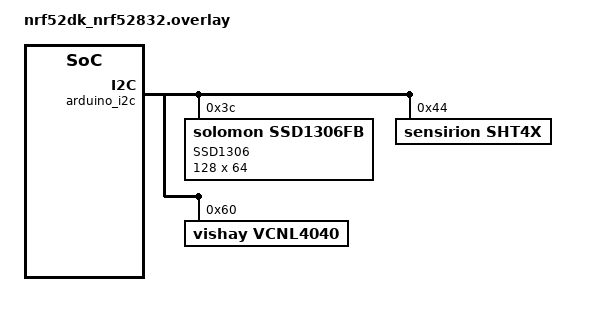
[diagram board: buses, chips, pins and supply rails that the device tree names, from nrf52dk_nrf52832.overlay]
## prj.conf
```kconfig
CONFIG_I2C=y
CONFIG_SENSOR=y
CONFIG_SHT4X=y
CONFIG_CBPRINTF_FP_SUPPORT=y

# Memory and Stack Configuration
CONFIG_HEAP_MEM_POOL_SIZE=16384
CONFIG_MAIN_STACK_SIZE=4096

# Debugging and Assertions
CONFIG_DEBUG_OPTIMIZATIONS=y
CONFIG_ASSERT=y

# Enable I2C support
CONFIG_I2C=y

# Display Configuration
CONFIG_DISPLAY=y
# CONFIG_DISPLAY_LOG_LEVEL_DBG=y

# Enable Logging
# CONFIG_LOG=y

# SSD1306 OLED Display Driver
CONFIG_SSD1306=y
# CONFIG_SSD1306_SH1106_COMPATIBLE=n
CONFIG_SSD1306_DEFAULT_CONTRAST=128

# Console Configuration
CONFIG_CONSOLE=y
# Character Framebuffer
CONFIG_CHARACTER_FRAMEBUFFER=y

CONFIG_VCNL4040=y
CONFIG_VCNL4040_ENABLE_ALS=y
```

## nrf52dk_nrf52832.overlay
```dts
&arduino_i2c {
	status = "okay";
	compatible = "nordic,nrf-twi";

	ssd1306_ssd1306_128x64_I2C: ssd1306@3c {
		compatible = "solomon,ssd1306fb";
		reg = <0x3c>;
		label = "SSD1306";
		width = <128>;
		height = <64>;
		segment-offset = <0>;
		page-offset = <0>;
		display-offset = <0>;
		multiplex-ratio = <63>;
		segment-remap;
		com-invdir;
		prechargep = <0x22>;
	};

	sht4x@44 {  // Node for the SHT4x sensor with I2C address 0x44
        compatible = "sensirion,sht4x"; // SHT4x sensor compatible string
        reg = <0x44>;                   // I2C address of the SHT4x sensor
        label = "SHT4X";                // Optional label for the sensor
        status = "okay";                // Enable the sensor
        repeatability = <2>;            // Sensor repeatability setting (if applicable)
    };

	vcnl4040@60 {
		status = "okay";
		compatible = "vishay,vcnl4040";
		reg = <0x60>;
		led-current = <200>;
		led-duty-cycle = <320>;
	};
};

// /* For node Configuration only */

// &pinctrl {
// 	uart0_default: uart0_default {
// 		group1 {
// 			psels = <NRF_PSEL(UART_TX, 0, 24)>, //6   for nrf52dk5832 / 5840
// 				<NRF_PSEL(UART_RX, 0, 23)>,   //8	  for nrf52dk5832
// 				<NRF_PSEL(UART_RTS, 0, 5)>,
// 				<NRF_PSEL(UART_CTS, 0, 7)>;
// 		};
// 	};

// 	uart0_sleep: uart0_sleep {
// 		group1 {
// 			psels = <NRF_PSEL(UART_TX, 0, 24)>,    //6
// 				<NRF_PSEL(UART_RX, 0, 23)>,        //8
// 				<NRF_PSEL(UART_RTS, 0, 5)>,
// 				<NRF_PSEL(UART_CTS, 0, 7)>;
// 			low-power-enable;
// 		};
// 	};
// 	i2c0_default: i2c0_default {
// 		group1 {
// 			psels = <NRF_PSEL(TWIM_SDA, 0, 26)>,  
// 				<NRF_PSEL(TWIM_SCL, 0, 25)>;      
// 		};
// 	};

// 	i2c0_sleep: i2c0_sleep {
// 		group1 {
// 			psels = <NRF_PSEL(TWIM_SDA, 0, 26)>,   
// 				<NRF_PSEL(TWIM_SCL, 0, 25)>;        
// 			low-power-enable;
// 		};
// 	};
// };
```

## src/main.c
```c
#include <zephyr/kernel.h>          // Kernel APIs
#include <zephyr/device.h>          // Device management APIs
#include <zephyr/drivers/display.h> // Display operations APIs
#include <zephyr/display/cfb.h>     // Character framebuffer APIs
#include <zephyr/drivers/sensor.h>  // Sensor operations APIs
#include <stdio.h>

#define SLEEP_DURATION_MS 1000

void main(void)
{
    // Get device handles
    const struct device *oled_dev = device_get_binding("SSD1306");
    const struct device *vcnl = DEVICE_DT_GET_ANY(vishay_vcnl4040);
    const struct device *sht = DEVICE_DT_GET_ANY(sensirion_sht4x);

    // Check if devices are ready
    if (!oled_dev || !device_is_ready(vcnl) || !device_is_ready(sht))
    {
        printk("Device initialization failed.\n");
        return;
    }

    // Initialize OLED display
    if (display_set_pixel_format(oled_dev, PIXEL_FORMAT_MONO10) != 0 || cfb_framebuffer_init(oled_dev) != 0)
    {
        printk("OLED Display: Initialization failed\n");
        return;
    }

    cfb_framebuffer_clear(oled_dev, true);
    cfb_framebuffer_invert(oled_dev);
    display_blanking_off(oled_dev);

    // Get font size
    uint8_t font_width, font_height;
    cfb_get_font_size(oled_dev, 0, &font_width, &font_height);

    struct sensor_value lux_val, temp_val, hum_val;
    char display_str[32];
    int counter = 0;

    while (1) 
    {
        // Fetch sensor data
        if (sensor_sample_fetch(vcnl) == 0 && sensor_channel_get(vcnl, SENSOR_CHAN_LIGHT, &lux_val) == 0 &&
            sensor_sample_fetch(sht) == 0)
        {
            sensor_channel_get(sht, SENSOR_CHAN_AMBIENT_TEMP, &temp_val);
            sensor_channel_get(sht, SENSOR_CHAN_HUMIDITY, &hum_val);

            // Update OLED display
            cfb_framebuffer_clear(oled_dev, false);

            snprintf(display_str, sizeof(display_str), "Lux: %d", lux_val.val1);
            cfb_print(oled_dev, display_str, 0, 0);

            snprintf(display_str, sizeof(display_str), "Temp: %.2fC", sensor_value_to_double(&temp_val));
            cfb_print(oled_dev, display_str, 0, font_height);

            snprintf(display_str, sizeof(display_str), "Hum: %.2f%%", sensor_value_to_double(&hum_val));
            cfb_print(oled_dev, display_str, 0, 2 * font_height);

            cfb_framebuffer_finalize(oled_dev);

            // Log sensor data
            printk("Lux: %d, Temp: %.2f°C, Humidity: %.2f%%RH\n",
                   lux_val.val1, sensor_value_to_double(&temp_val), sensor_value_to_double(&hum_val));
        }
        else
        {
            printk("Error: Failed to fetch sensor data\n");
        }

        printk("Time: %d sec\n", counter++);
        k_msleep(SLEEP_DURATION_MS);
    }
}
```
